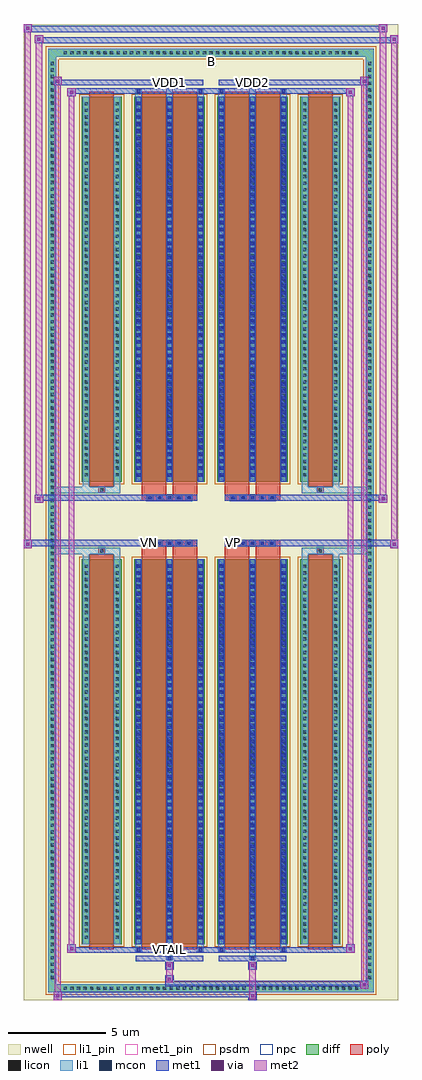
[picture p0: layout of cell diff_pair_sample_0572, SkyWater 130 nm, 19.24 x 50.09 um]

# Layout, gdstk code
import gdstk
lib = gdstk.Library(unit=1e-6, precision=5e-09)
def R(c, l, rs):  # rectangles x0, y0, x1, y1
    for r in rs: c.add(gdstk.rectangle(r[:2], r[2:], *l))
def A(c, l, x, y, w, h, nx, ny, dx, dy):  # array of equal rectangles
    R(c, l, [(x+i*dx, y+j*dy, x+i*dx+w, y+j*dy+h) for i in range(nx) for j in range(ny)])
def P(c, l, *ps):  # polygons
    for p in ps: c.add(gdstk.Polygon(p, *l))
nwell = (64, 20)
diff = (65, 20)
poly = (66, 20)
licon = (66, 44)
li1_pin = (67, 16)
li1 = (67, 20)
mcon = (67, 44)
met1_pin = (68, 16)
met1 = (68, 20)
via = (68, 44)
met2 = (69, 20)
psdm = (94, 20)
npc = (95, 20)

diff_pair_sample_0572 = lib.new_cell('diff_pair_sample_0572')
R(diff_pair_sample_0572, nwell, [(-9.62,-24.61,9.62,25.48), (-6.94,-22.8,-0.01,-0.8), (0.01,-22.8,6.94,-0.8), (-6.94,0.8,-0.01,22.8), (0.01,0.8,6.94,22.8)])
A(diff_pair_sample_0572, diff, -7.685, -24.21, 0.41, 0.41, 45, 2, 0.34, 48.01)
A(diff_pair_sample_0572, diff, -8.35, -23.665, 0.41, 0.41, 1, 139, 0, 0.34)
A(diff_pair_sample_0572, diff, 7.94, -23.665, 0.41, 0.41, 1, 139, 0, 0.34)
R(diff_pair_sample_0572, diff, [(-7.685,-24.21,7.685,-23.8), (-8.35,-23.665,-7.94,23.665), (7.94,-23.665,8.35,23.665), (-6.63,-21.755,-4.59,-1.985), (-3.95,-21.755,-0.32,-1.985), (0.32,-21.755,3.95,-1.985), (4.59,-21.755,6.63,-1.985), (-6.63,1.985,-4.59,21.755), (-3.95,1.985,-0.32,21.755), (0.32,1.985,3.95,21.755), (4.59,1.985,6.63,21.755), (-7.685,23.8,7.685,24.21)])
P(diff_pair_sample_0572, diff, [(8.35,24.21),(-8.35,24.21),(-8.35,-23.8),(-7.94,-23.8),(-7.94,23.8),(7.94,23.8),(7.94,-23.8),(-7.94,-23.8),(-8.35,-23.8),(-8.35,-24.21),(8.35,-24.21)])
A(diff_pair_sample_0572, poly, -3.3, -1.33, 0.33, 0.33, 5, 2, 0.5, 2.33)
A(diff_pair_sample_0572, poly, 0.97, -1.33, 0.33, 0.33, 5, 2, 0.5, 2.33)
R(diff_pair_sample_0572, poly, [(-6.24,-22.005,-4.98,-1.735), (-3.56,-22.005,-2.3,-1.735), (-1.97,-22.005,-0.71,-1.735), (0.71,-22.005,1.97,-1.735), (2.3,-22.005,3.56,-1.735), (4.98,-22.005,6.24,-1.735), (-5.775,-1.735,-5.445,-1.405), (-5.775,-1.735,-5.445,-1.405), (-3.56,-1.735,-2.3,-1.33), (-1.97,-1.735,-0.71,-1.33), (0.71,-1.735,1.97,-1.33), (2.3,-1.735,3.56,-1.33), (5.445,-1.735,5.775,-1.405), (5.445,-1.735,5.775,-1.405), (-3.56,-1.33,-0.71,-1), (0.71,-1.33,3.56,-1), (-3.56,1,-0.71,1.33), (0.71,1,3.56,1.33), (-3.56,1.33,-2.3,1.735), (-1.97,1.33,-0.71,1.735), (0.71,1.33,1.97,1.735), (2.3,1.33,3.56,1.735), (-5.775,1.405,-5.445,1.735), (-5.775,1.405,-5.445,1.735), (5.445,1.405,5.775,1.735), (5.445,1.405,5.775,1.735), (-6.24,1.735,-4.98,22.005), (-3.56,1.735,-2.3,22.005), (-1.97,1.735,-0.71,22.005), (0.71,1.735,1.97,22.005), (2.3,1.735,3.56,22.005), (4.98,1.735,6.24,22.005)])
A(diff_pair_sample_0572, licon, -7.565, -24.09, 0.17, 0.17, 45, 2, 0.34, 48.01)
A(diff_pair_sample_0572, licon, -8.23, -23.545, 0.17, 0.17, 1, 139, 0, 0.34)
A(diff_pair_sample_0572, licon, 8.06, -23.545, 0.17, 0.17, 1, 139, 0, 0.34)
A(diff_pair_sample_0572, licon, -6.49, -21.475, 0.17, 0.17, 1, 57, 0, 0.34)
A(diff_pair_sample_0572, licon, -4.9, -21.475, 0.17, 0.17, 1, 57, 0, 0.34)
A(diff_pair_sample_0572, licon, -3.81, -21.475, 0.17, 0.17, 3, 57, 1.59, 0.34)
A(diff_pair_sample_0572, licon, 0.46, -21.475, 0.17, 0.17, 3, 57, 1.59, 0.34)
A(diff_pair_sample_0572, licon, 4.73, -21.475, 0.17, 0.17, 1, 57, 0, 0.34)
A(diff_pair_sample_0572, licon, 6.32, -21.475, 0.17, 0.17, 1, 57, 0, 0.34)
A(diff_pair_sample_0572, licon, -3.22, -1.25, 0.17, 0.17, 5, 2, 0.5, 2.33)
A(diff_pair_sample_0572, licon, 1.05, -1.25, 0.17, 0.17, 5, 2, 0.5, 2.33)
A(diff_pair_sample_0572, licon, -6.49, 2.265, 0.17, 0.17, 1, 57, 0, 0.34)
A(diff_pair_sample_0572, licon, -4.9, 2.265, 0.17, 0.17, 1, 57, 0, 0.34)
A(diff_pair_sample_0572, licon, -3.81, 2.265, 0.17, 0.17, 3, 57, 1.59, 0.34)
A(diff_pair_sample_0572, licon, 0.46, 2.265, 0.17, 0.17, 3, 57, 1.59, 0.34)
A(diff_pair_sample_0572, licon, 4.73, 2.265, 0.17, 0.17, 1, 57, 0, 0.34)
A(diff_pair_sample_0572, licon, 6.32, 2.265, 0.17, 0.17, 1, 57, 0, 0.34)
R(diff_pair_sample_0572, licon, [(-5.695,-1.655,-5.525,-1.485), (5.525,-1.655,5.695,-1.485), (-5.695,1.485,-5.525,1.655), (5.525,1.485,5.695,1.655)])
R(diff_pair_sample_0572, li1_pin, [(-0.25,23.3,0.25,23.8)])
A(diff_pair_sample_0572, li1, -7.645, -24.17, 0.33, 0.33, 45, 2, 0.34, 48.01)
A(diff_pair_sample_0572, li1, -8.31, -23.625, 0.33, 0.33, 1, 139, 0, 0.34)
A(diff_pair_sample_0572, li1, 7.98, -23.625, 0.33, 0.33, 1, 139, 0, 0.34)
A(diff_pair_sample_0572, li1, -3.89, -21.755, 0.33, 19.77, 3, 2, 1.59, 23.74)
A(diff_pair_sample_0572, li1, 0.38, -21.755, 0.33, 19.77, 3, 2, 1.59, 23.74)
A(diff_pair_sample_0572, li1, -6.57, -21.555, 0.33, 0.33, 1, 57, 0, 0.34)
A(diff_pair_sample_0572, li1, -4.98, -21.555, 0.33, 0.33, 1, 57, 0, 0.34)
A(diff_pair_sample_0572, li1, -3.89, -21.555, 0.33, 0.33, 3, 57, 1.59, 0.34)
A(diff_pair_sample_0572, li1, 0.38, -21.555, 0.33, 0.33, 3, 57, 1.59, 0.34)
A(diff_pair_sample_0572, li1, 4.65, -21.555, 0.33, 0.33, 1, 57, 0, 0.34)
A(diff_pair_sample_0572, li1, 6.24, -21.555, 0.33, 0.33, 1, 57, 0, 0.34)
A(diff_pair_sample_0572, li1, -3.81, -21.495, 0.17, 0.17, 3, 54, 1.59, 0.36)
A(diff_pair_sample_0572, li1, -3.81, -21.495, 0.17, 19.25, 3, 2, 1.59, 23.74)
A(diff_pair_sample_0572, li1, 0.46, -21.495, 0.17, 0.17, 3, 54, 1.59, 0.36)
A(diff_pair_sample_0572, li1, 0.46, -21.495, 0.17, 19.25, 3, 2, 1.59, 23.74)
A(diff_pair_sample_0572, li1, -3.3, -1.33, 0.33, 0.33, 5, 2, 0.5, 2.33)
A(diff_pair_sample_0572, li1, 0.97, -1.33, 0.33, 0.33, 5, 2, 0.5, 2.33)
A(diff_pair_sample_0572, li1, -6.57, 2.185, 0.33, 0.33, 1, 57, 0, 0.34)
A(diff_pair_sample_0572, li1, -4.98, 2.185, 0.33, 0.33, 1, 57, 0, 0.34)
A(diff_pair_sample_0572, li1, -3.89, 2.185, 0.33, 0.33, 3, 57, 1.59, 0.34)
A(diff_pair_sample_0572, li1, 0.38, 2.185, 0.33, 0.33, 3, 57, 1.59, 0.34)
A(diff_pair_sample_0572, li1, 4.65, 2.185, 0.33, 0.33, 1, 57, 0, 0.34)
A(diff_pair_sample_0572, li1, 6.24, 2.185, 0.33, 0.33, 1, 57, 0, 0.34)
A(diff_pair_sample_0572, li1, -3.81, 2.245, 0.17, 0.17, 3, 54, 1.59, 0.36)
A(diff_pair_sample_0572, li1, 0.46, 2.245, 0.17, 0.17, 3, 54, 1.59, 0.36)
R(diff_pair_sample_0572, li1, [(-8.35,-24.21,-7.94,-23.8), (-8.35,-24.21,-7.94,-23.8), (-7.94,-24.21,7.94,-23.8), (7.94,-24.21,8.35,-23.8), (7.94,-24.21,8.35,-23.8), (-8.35,-23.8,-7.94,23.8), (7.94,-23.8,8.35,23.8), (-2.3,-22.56,-1.97,-21.755), (-2.22,-22.56,-2.05,-22.39), (1.97,-22.56,2.3,-21.755), (2.05,-22.56,2.22,-22.39), (-3.89,-22.13,-3.56,-21.755), (-3.81,-22.13,-3.64,-21.96), (-0.71,-22.13,-0.38,-21.755), (-0.63,-22.13,-0.46,-21.96), (0.38,-22.13,0.71,-21.755), (0.46,-22.13,0.63,-21.96), (3.56,-22.13,3.89,-21.755), (3.64,-22.13,3.81,-21.96), (-6.57,-21.755,-6.24,-1.985), (-4.98,-21.755,-4.65,-1.985), (4.65,-21.755,4.98,-1.985), (6.24,-21.755,6.57,-1.985), (-6.57,-1.985,-6.24,-1.405), (-4.98,-1.985,-4.65,-1.405), (4.65,-1.985,4.98,-1.405), (6.24,-1.985,6.57,-1.405), (-8.35,-1.735,-5.775,-1.405), (-6.57,-1.735,-5.775,-1.405), (-5.775,-1.735,-5.445,-1.405), (-5.445,-1.735,-4.65,-1.405), (4.65,-1.735,5.445,-1.405), (5.445,-1.735,5.775,-1.405), (5.445,-1.735,8.35,-1.405), (5.775,-1.735,6.57,-1.405), (-8.35,1.405,-5.775,1.735), (-6.57,1.405,-5.775,1.735), (-6.57,1.405,-6.24,1.985), (-5.775,1.405,-5.445,1.735), (-5.445,1.405,-4.65,1.735), (-4.98,1.405,-4.65,1.985), (4.65,1.405,5.445,1.735), (4.65,1.405,4.98,1.985), (5.445,1.405,5.775,1.735), (5.445,1.405,8.35,1.735), (5.775,1.405,6.57,1.735), (6.24,1.405,6.57,1.985), (-6.57,1.985,-6.24,21.755), (-4.98,1.985,-4.65,21.755), (4.65,1.985,4.98,21.755), (6.24,1.985,6.57,21.755), (-3.89,21.755,-3.56,22.13), (-2.3,21.755,-1.97,22.56), (-0.71,21.755,-0.38,22.13), (0.38,21.755,0.71,22.13), (1.97,21.755,2.3,22.56), (3.56,21.755,3.89,22.13), (-3.81,21.96,-3.64,22.13), (-0.63,21.96,-0.46,22.13), (0.46,21.96,0.63,22.13), (3.64,21.96,3.81,22.13), (-2.22,22.39,-2.05,22.56), (2.05,22.39,2.22,22.56), (-8.35,23.8,-7.94,24.21), (-8.35,23.8,-7.94,24.21), (-7.94,23.8,7.94,24.21), (7.94,23.8,8.35,24.21), (7.94,23.8,8.35,24.21)])
A(diff_pair_sample_0572, mcon, -3.81, -21.495, 0.17, 0.17, 3, 54, 1.59, 0.36)
A(diff_pair_sample_0572, mcon, 0.46, -21.495, 0.17, 0.17, 3, 54, 1.59, 0.36)
A(diff_pair_sample_0572, mcon, -3.22, -1.25, 0.17, 0.17, 5, 2, 0.5, 2.33)
A(diff_pair_sample_0572, mcon, 1.05, -1.25, 0.17, 0.17, 5, 2, 0.5, 2.33)
A(diff_pair_sample_0572, mcon, -3.81, 2.245, 0.17, 0.17, 3, 54, 1.59, 0.36)
A(diff_pair_sample_0572, mcon, 0.46, 2.245, 0.17, 0.17, 3, 54, 1.59, 0.36)
R(diff_pair_sample_0572, mcon, [(-2.22,-22.56,-2.05,-22.39), (2.05,-22.56,2.22,-22.39), (-3.81,-22.13,-3.64,-21.96), (-0.63,-22.13,-0.46,-21.96), (0.46,-22.13,0.63,-21.96), (3.64,-22.13,3.81,-21.96), (-3.81,21.96,-3.64,22.13), (-0.63,21.96,-0.46,22.13), (0.46,21.96,0.63,22.13), (3.64,21.96,3.81,22.13), (-2.22,22.39,-2.05,22.56), (2.05,22.39,2.22,22.56)])
R(diff_pair_sample_0572, met1_pin, [(-2.27,-22.17,-2,-21.9), (-3.27,-1.29,-3,-1.02), (1,-1.29,1.27,-1.02), (-2.27,22.35,-2,22.62), (2,22.35,2.27,22.62)])
A(diff_pair_sample_0572, met1, -3.87, -21.755, 0.29, 19.77, 3, 2, 1.59, 23.74)
A(diff_pair_sample_0572, met1, 0.4, -21.755, 0.29, 19.77, 3, 2, 1.59, 23.74)
A(diff_pair_sample_0572, met1, -3.87, -21.555, 0.29, 0.29, 3, 54, 1.59, 0.36)
A(diff_pair_sample_0572, met1, 0.4, -21.555, 0.29, 0.29, 3, 54, 1.59, 0.36)
A(diff_pair_sample_0572, met1, -3.28, -1.31, 0.29, 0.29, 5, 2, 0.5, 2.33)
A(diff_pair_sample_0572, met1, 0.99, -1.31, 0.29, 0.29, 5, 2, 0.5, 2.33)
A(diff_pair_sample_0572, met1, -3.87, 2.185, 0.29, 0.29, 3, 54, 1.59, 0.36)
A(diff_pair_sample_0572, met1, 0.4, 2.185, 0.29, 0.29, 3, 54, 1.59, 0.36)
R(diff_pair_sample_0572, met1, [(-8.08,-24.61,-7.65,-24.18), (1.92,-24.61,2.35,-24.18), (-8.08,-24.47,2.35,-24.18), (7.65,-24.04,8.08,-23.61), (-2.35,-23.9,8.08,-23.61), (-2.35,-23.76,-1.92,-23.33), (-2.35,-23.05,-1.92,-22.62), (1.92,-23.05,2.35,-22.62), (-3.87,-22.62,-0.4,-22.33), (-2.28,-22.62,-1.99,-22.33), (0.4,-22.62,3.87,-22.33), (1.99,-22.62,2.28,-22.33), (-7.37,-22.19,-6.94,-21.76), (-7.37,-22.19,-3.87,-21.9), (-3.87,-22.19,-3.58,-21.9), (-3.87,-22.19,-0.4,-21.9), (-0.69,-22.19,-0.4,-21.9), (-0.4,-22.19,0.4,-21.9), (0.4,-22.19,0.69,-21.9), (0.4,-22.19,3.87,-21.9), (3.58,-22.19,3.87,-21.9), (3.87,-22.19,7.37,-21.9), (6.94,-22.19,7.37,-21.76), (-9.62,-1.43,-9.19,-1), (9.19,-1.43,9.62,-1), (-9.62,-1.33,-0.71,-1), (-3.56,-1.33,-0.71,-1), (0.71,-1.33,3.56,-1), (0.71,-1.33,9.62,-1), (-9.05,0.9,-8.62,1.33), (8.62,0.9,9.05,1.33), (-9.05,1,-3.56,1.33), (-3.56,1,-0.71,1.33), (0.71,1,3.56,1.33), (3.56,1,9.05,1.33), (-7.37,21.76,-6.94,22.19), (6.94,21.76,7.37,22.19), (-7.37,21.9,-3.87,22.19), (-3.87,21.9,-3.58,22.19), (-3.87,21.9,-0.4,22.19), (-0.69,21.9,-0.4,22.19), (-0.4,21.9,0.4,22.19), (0.4,21.9,0.69,22.19), (0.4,21.9,3.87,22.19), (3.58,21.9,3.87,22.19), (3.87,21.9,7.37,22.19), (-8.08,22.33,-7.65,22.76), (-8.08,22.33,-3.87,22.62), (-3.87,22.33,-0.4,22.62), (-2.28,22.33,-1.99,22.62), (0.4,22.33,3.87,22.62), (1.99,22.33,2.28,22.62), (3.87,22.33,8.08,22.62), (7.65,22.33,8.08,22.76), (-9.05,24.48,-8.62,24.91), (-9.05,24.48,-6.94,24.81), (-6.94,24.48,6.94,24.81), (6.94,24.48,9.62,24.81), (9.19,24.48,9.62,24.91), (-9.62,25.05,-9.19,25.48), (-9.62,25.05,-6.94,25.38), (-6.94,25.05,6.94,25.38), (6.94,25.05,9.05,25.38), (8.62,25.05,9.05,25.48)])
R(diff_pair_sample_0572, via, [(-7.94,-24.47,-7.79,-24.32), (2.06,-24.47,2.21,-24.32), (7.79,-23.9,7.94,-23.75), (-2.21,-23.62,-2.06,-23.47), (-2.21,-22.91,-2.06,-22.76), (2.06,-22.91,2.21,-22.76), (-7.23,-22.05,-7.08,-21.9), (7.08,-22.05,7.23,-21.9), (-9.48,-1.29,-9.33,-1.14), (9.33,-1.29,9.48,-1.14), (-8.91,1.04,-8.76,1.19), (8.76,1.04,8.91,1.19), (-7.23,21.9,-7.08,22.05), (7.08,21.9,7.23,22.05), (-7.94,22.47,-7.79,22.62), (7.79,22.47,7.94,22.62), (-8.91,24.62,-8.76,24.77), (9.33,24.62,9.48,24.77), (-9.48,25.19,-9.33,25.34), (8.76,25.19,8.91,25.34)])
R(diff_pair_sample_0572, met2, [(-8.08,-24.61,-7.65,-24.18), (-8.01,-24.61,-7.72,22.76), (-7.72,-24.61,-7.65,-24.18), (-8.03,-24.56,-7.7,-24.23), (1.97,-24.56,2.3,-24.23), (1.97,-24.23,2.3,-23), (7.65,-24.04,8.08,-23.61), (7.72,-24.04,8.01,22.76), (8.01,-24.04,8.08,-23.61), (7.7,-23.99,8.03,-23.66), (-2.3,-23.71,-1.97,-23.38), (-2.3,-23.38,-1.97,-23), (-2.3,-23,-1.97,-22.67), (1.97,-23,2.3,-22.67), (-7.37,-22.19,-6.94,-21.76), (-7.3,-22.19,-7.01,22.19), (-7.01,-22.19,-6.94,-21.76), (6.94,-22.19,7.37,-21.76), (7.01,-22.19,7.3,22.19), (7.3,-22.19,7.37,-21.76), (-7.32,-22.14,-6.99,-21.81), (6.99,-22.14,7.32,-21.81), (-9.62,-1.43,-9.19,-1), (-9.57,-1.43,-9.24,25.48), (-9.24,-1.43,-9.19,-1), (9.19,-1.43,9.62,-1), (9.24,-1.43,9.57,24.91), (9.57,-1.43,9.62,-1), (-9.57,-1.38,-9.24,-1.05), (9.24,-1.38,9.57,-1.05), (-9.05,0.9,-8.62,1.33), (-9,0.9,-8.67,24.91), (-8.67,0.9,-8.62,1.33), (8.62,0.9,9.05,1.33), (8.67,0.9,9,25.48), (9,0.9,9.05,1.33), (-9,0.95,-8.67,1.28), (8.67,0.95,9,1.28), (-7.37,21.76,-6.94,22.19), (-7.01,21.76,-6.94,22.19), (6.94,21.76,7.37,22.19), (7.3,21.76,7.37,22.19), (-7.32,21.81,-6.99,22.14), (6.99,21.81,7.32,22.14), (-8.08,22.33,-7.65,22.76), (-7.72,22.33,-7.65,22.76), (7.65,22.33,8.08,22.76), (8.01,22.33,8.08,22.76), (-8.03,22.38,-7.7,22.71), (7.7,22.38,8.03,22.71), (-9.05,24.48,-8.62,24.91), (-8.67,24.48,-8.62,24.91), (9.19,24.48,9.62,24.91), (9.57,24.48,9.62,24.91), (-9,24.53,-8.67,24.86), (9.24,24.53,9.57,24.86), (-9.62,25.05,-9.19,25.48), (-9.24,25.05,-9.19,25.48), (8.62,25.05,9.05,25.48), (9,25.05,9.05,25.48), (-9.57,25.1,-9.24,25.43), (8.67,25.1,9,25.43)])
R(diff_pair_sample_0572, psdm, [(-6.76,-21.885,-4.46,-1.855), (-4.08,-21.885,-0.19,-1.855), (0.19,-21.885,4.08,-1.855), (4.46,-21.885,6.76,-1.855), (-6.76,1.855,-4.46,21.885), (-4.08,1.855,-0.19,21.885), (0.19,1.855,4.08,21.885), (4.46,1.855,6.76,21.885)])
P(diff_pair_sample_0572, psdm, [(8.48,24.34),(-8.48,24.34),(-8.48,-23.67),(-7.81,-23.67),(-7.81,23.67),(7.81,23.67),(7.81,-23.67),(-7.81,-23.67),(-8.48,-23.67),(-8.48,-24.34),(8.48,-24.34)])
A(diff_pair_sample_0572, npc, -3.32, -1.35, 0.37, 0.37, 5, 2, 0.5, 2.33)
A(diff_pair_sample_0572, npc, 0.95, -1.35, 0.37, 0.37, 5, 2, 0.5, 2.33)
R(diff_pair_sample_0572, npc, [(-5.795,-1.755,-5.425,-1.385), (5.425,-1.755,5.795,-1.385), (-3.32,-1.35,-2.45,-0.98), (-3.32,-1.35,-2.45,-0.98), (-2.82,-1.35,-1.95,-0.98), (-2.82,-1.35,-1.95,-0.98), (-2.32,-1.35,-1.45,-0.98), (-2.32,-1.35,-1.45,-0.98), (-1.82,-1.35,-0.95,-0.98), (-1.82,-1.35,-0.95,-0.98), (0.95,-1.35,1.82,-0.98), (0.95,-1.35,1.82,-0.98), (1.45,-1.35,2.32,-0.98), (1.45,-1.35,2.32,-0.98), (1.95,-1.35,2.82,-0.98), (1.95,-1.35,2.82,-0.98), (2.45,-1.35,3.32,-0.98), (2.45,-1.35,3.32,-0.98), (-3.32,0.98,-2.45,1.35), (-3.32,0.98,-2.45,1.35), (-2.82,0.98,-1.95,1.35), (-2.82,0.98,-1.95,1.35), (-2.32,0.98,-1.45,1.35), (-2.32,0.98,-1.45,1.35), (-1.82,0.98,-0.95,1.35), (-1.82,0.98,-0.95,1.35), (0.95,0.98,1.82,1.35), (0.95,0.98,1.82,1.35), (1.45,0.98,2.32,1.35), (1.45,0.98,2.32,1.35), (1.95,0.98,2.82,1.35), (1.95,0.98,2.82,1.35), (2.45,0.98,3.32,1.35), (2.45,0.98,3.32,1.35), (-5.795,1.385,-5.425,1.755), (5.425,1.385,5.795,1.755)])
diff_pair_sample_0572.add(gdstk.Label('VTAIL', (-2.135,-22.035), layer=68, texttype=5))
diff_pair_sample_0572.add(gdstk.Label('VN', (-3.135,-1.155), layer=68, texttype=5))
diff_pair_sample_0572.add(gdstk.Label('VP', (1.135,-1.155), layer=68, texttype=5))
diff_pair_sample_0572.add(gdstk.Label('B', (0,23.55), layer=67, texttype=5))
diff_pair_sample_0572.add(gdstk.Label('VDD2', (2.135,22.485), layer=68, texttype=5))
diff_pair_sample_0572.add(gdstk.Label('VDD1', (-2.135,22.485), layer=68, texttype=5))

lib.write_gds('diff_pair_sample_0572.gds')
